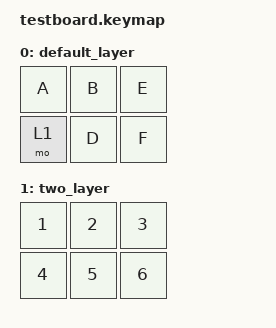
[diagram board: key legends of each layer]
// This file was generated from a template. Edit it to match your keyboard.
// See https://zmk.dev/docs/development/hardware-integration/new-shield for more instructions.

#include <behaviors.dtsi>
#include <dt-bindings/zmk/keys.h>

/ {
    // Define a default keymap here.
    // See https://zmk.dev/docs/development/hardware-integration/new-shield#default-keymap.
    keymap {
        compatible = "zmk,keymap";

        default_layer {
            bindings = <
                &kp A &kp B &kp E
                &mo 1 &kp D &kp F
            >;
        };

        two_layer {
            bindings = <
                &kp N1 &kp N2 &kp N3
                &kp N4 &kp N5 &kp N6
            >;
        };
    };
};
